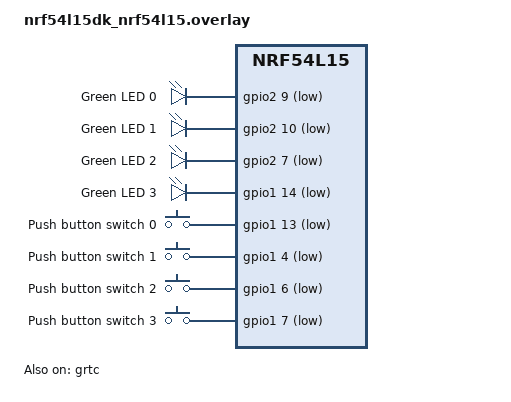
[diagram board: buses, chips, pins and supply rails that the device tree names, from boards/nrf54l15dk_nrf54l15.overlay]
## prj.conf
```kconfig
# Copyright (c) 2019 Nordic Semiconductor ASA
# SPDX-License-Identifier: LicenseRef-Nordic-5-Clause

CONFIG_NCS_SAMPLES_DEFAULTS=y

# ==== 1. KHÓA CHẾ ĐỘ BIÊN DỊCH TỐI ƯU DUNG LƯỢNG & ĐIỆN NĂNG ====
CONFIG_SIZE_OPTIMIZATIONS=y

# ==== 2. QUẢN LÝ NĂNG LƯỢNG CHO DÒNG NRF54L ====
# Bật bộ khung quản lý điện năng nền tảng
CONFIG_PM=y


# Sửa lỗi 'PM_POLICY_DEFAULT': Với Zephyr mới trên nRF54L, thay vì gọi POLICY_DEFAULT,
# ta dùng cờ POLICY_APP hoặc để hệ thống tự điều phối trạng thái nguồn (Power States).
CONFIG_PM_POLICY_DEFAULT=y


# ==== 3. TẮT LOGGING & SERIAL DRIVER (CHỐNG DÒNG RÒ UART) ====
CONFIG_LOG=n
CONFIG_SERIAL=n
CONFIG_UART_CONSOLE=n
CONFIG_STDOUT_CONSOLE=n
CONFIG_USE_SEGGER_RTT=n
CONFIG_RTT_CONSOLE=n

# Sửa lỗi 'PRINTK': Cho phép hệ thống bật PRINTK (y) nhưng không xuất ra phần cứng qua UART
CONFIG_PRINTK=y

# ==== 4. TẤT CẢ CÁC TÍNH NĂNG KIỂM TRA / ASSERT ĐỀU PHẢI TẮT ====
CONFIG_ASSERT=n
CONFIG_RESET_ON_FATAL_ERROR=n

# ==== 5. CẤU HÌNH ĐỊNH TUYẾN LƯU TRỮ ZMS ====
CONFIG_FLASH=y
CONFIG_FLASH_MAP=y
CONFIG_SETTINGS=y
CONFIG_SETTINGS_ZMS=y
CONFIG_NVS=n

# Cấu hình chung ứng dụng
CONFIG_NCS_APPLICATION_BOOT_BANNER_STRING="Mesh Light"
CONFIG_SYSTEM_WORKQUEUE_STACK_SIZE=2048
CONFIG_HWINFO=y
CONFIG_DK_LIBRARY=y
CONFIG_PM_SINGLE_IMAGE=y
CONFIG_SOC_FLASH_NRF_PARTIAL_ERASE=n

# ==== 6. BLUETOOTH & LPN CHU KỲ DÀI KHÔNG THỨC GIẤC ====
CONFIG_BT=y
CONFIG_BT_DEVICE_NAME="Mesh Light"
CONFIG_BT_L2CAP_TX_BUF_COUNT=8
CONFIG_BT_OBSERVER=y
CONFIG_BT_PERIPHERAL=y
CONFIG_BT_SETTINGS=y
CONFIG_BT_RX_STACK_SIZE=2700

# Tắt toàn bộ tính năng Controller phụ trợ để hạ dòng tĩnh
CONFIG_BT_CTLR_LE_ENC=n
CONFIG_BT_PHY_UPDATE=n
CONFIG_BT_CTLR_CHAN_SEL_2=n
CONFIG_BT_CTLR_MIN_USED_CHAN=n
CONFIG_BT_CTLR_PRIVACY=n

# Mesh Low Power Node thiết lập chu kỳ ngủ dài
CONFIG_BT_MESH=y
CONFIG_BT_MESH_LOW_POWER=n
CONFIG_BT_MESH_RELAY=y
CONFIG_BT_MESH_FRIEND=y
CONFIG_BT_MESH_TX_SEG_MAX=10
CONFIG_BT_MESH_PB_GATT=y
CONFIG_BT_MESH_GATT_PROXY=y
CONFIG_BT_MESH_PROXY_USE_DEVICE_NAME=y
CONFIG_BT_MESH_DK_PROV=y
CONFIG_BT_MESH_ONOFF_SRV=y
CONFIG_BT_MESH_CRPL=32
CONFIG_BT_MESH_MSG_CACHE_SIZE=32

# Ép khoảng thời gian Poll Timeout tối đa (Hơn 60 giây mới dậy xin gói tin 1 lần)
CONFIG_BT_MESH_LPN_POLL_TIMEOUT=600
CONFIG_BT_MESH_LPN_RECV_DELAY=10
CONFIG_BT_MESH_LPN_MIN_QUEUE_SIZE=1

# Giảm công suất phát RF xuống mức thấp nhất để tiết kiệm năng lượng lúc phát sóng
CONFIG_BT_CTLR_TX_PWR_DYNAMIC_CONTROL=y
CONFIG_BT_CTLR_TX_PWR_ANTENNA=-8

CONFIG_GPIO=y


CONFIG_TICKLESS_KERNEL=y


# =========================================================
# TỐI ƯU HÓA HỆ ĐIỀU HÀNH VÀ GRTC CHO NRF54L15
# =========================================================

# 2. Tối ưu hóa sâu cho Power Management
# Cho phép hệ thống tự động đưa RAM và các thiết bị ngoại vi vào trạng thái ngắt điện (Retention)

# 3. Tắt System Watchdog (nếu không dùng đến)
# Watchdog đôi khi ngầm sử dụng timer riêng gây tốn thêm khoảng vài uA
CONFIG_WATCHDOG=n

# 4. Ép mức ưu tiên phần cứng cao nhất cho việc quản lý năng lượng LPN
#CONFIG_BT_MESH_LPN_AUTO=y



# =========================================================
# CẤU HÌNH BỔ SUNG: KÍCH HOẠT GRTC VÀ QUẢN LÝ NĂNG LƯỢNG SÂU
# =========================================================

# 1. Định tuyến Driver Clock hệ thống chạy trên phần cứng GRTC thay cho RTC cũ
# 1. Kích hoạt GRTC Driver
# =========================================================
# CẤU HÌNH ĐÃ SỬA ĐỔI: SỬ DỤNG GRTC & BẢO TOÀN LỆNH MESH
# =========================================================

CONFIG_NRFX_GRTC=y

# 2. Để tần số System Tick chạy ở mức 1 MHz (1000000) chuẩn của dòng nRF54L
# Điều này giúp các hàm k_work định thời chớp tắt Identify 30ms chạy chính xác hoàn hảo
CONFIG_SYS_CLOCK_HW_CYCLES_PER_SEC=1000000



CONFIG_BT_MESH_ONOFF_CLI=y





# # =========================================================
# # CẤU HÌNH KIỂM THỬ RELAY (CHUYỂN TIẾP MẠNG MESH)
# # =========================================================



# CONFIG_BT_MESH_LPN_AUTO=n


# # 4. Tăng độ lớn hàng đợi đệm (Buffer) tầng mạng cho Relay
# # Node Relay cần bộ nhớ đệm lớn hơn để xếp hàng và chuyển tiếp các gói tin của các node khác sang cho nhau.
# CONFIG_BT_MESH_ADV_BUF_COUNT=32





# # ==== 3. CẤU HÌNH BẬT LOGGING QUA SEGGER RTT (ĐỂ XEM LOG RELAY) ====
# # Bật hệ thống Log của Zephyr và NCS
# CONFIG_LOG=y
# CONFIG_LOG_MODE_DEFERRED=y

# # Khóa mạch Console UART vật lý (vẫn tắt UART để tránh dòng rò trên chân TX/RX)
# CONFIG_SERIAL=n
# CONFIG_UART_CONSOLE=n

# # Bật Driver SEGGER RTT và chọn RTT làm cổng xuất Log Console
# CONFIG_USE_SEGGER_RTT=y
# CONFIG_RTT_CONSOLE=y

# # Cho phép hàm PRINTK và LOG xuất dữ liệu trực tiếp lên RTT Viewer
# CONFIG_PRINTK=y

# # Tăng kích thước bộ đệm RTT để tránh bị nghẹt/mất chữ khi các gói tin Mesh dồn dập
# CONFIG_SEGGER_RTT_BUFFER_SIZE_UP=2048

# # Ép lõi Bluetooth Mesh in chi tiết log của tầng mạng (Network Layer) và tầng Relay
# CONFIG_BT_MESH_LOG_LEVEL_DBG=y
# CONFIG_BT_MESH_NET_LOG_LEVEL_DBG=y


# ==== BỔ SUNG CẤU HÌNH RAM RETENTION CHO nRF54L15 ====
# Bật tính năng quản lý nguồn cho các block bộ nhớ RAM


# Giả sử ứng dụng của bạn gọn nhẹ, chỉ giữ lại block RAM cần thiết (ví dụ: 96KB)
# và tắt nguồn hoàn toàn các block RAM còn lại để giảm dòng rò tĩnh.
# (Lưu ý: Tùy thuộc vào phiên bản NCS/Zephyr, nRF54L15 sử dụng cấu hình phân mảnh RAM sau)


# ==== TỐI ƯU HÓA POWER MANAGEMENT MANAGEMENT SÂU ====
CONFIG_PM_DEVICE=y
CONFIG_PM_DEVICE_RUNTIME=y
```

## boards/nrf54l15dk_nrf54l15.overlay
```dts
&gpio0 {
    status = "okay";
};

&gpio1 {
    status = "okay";
};

&gpio2 {
    status = "okay";
};

&uart20 {
    status = "disabled";
};

// &i2c21 {
//     compatible = "nordic,nrf-twim";
//     status = "disabled";
//     clock-frequency = <I2C_BITRATE_STANDARD>; /* 100kHz */
//     pinctrl-0 = <&i2c21_default>;
//     pinctrl-1 = <&i2c21_sleep>;
//     pinctrl-names = "default", "sleep";

//     mysensor: mysensor@55{
//         compatible = "i2c-device";
//         reg = <0x55>;
//         label = "MYSENSOR";
//     };
// };

&pinctrl {
    i2c21_default: i2c21_default {
        group1 {
            psels = <NRF_PSEL(TWIM_SCL, 1, 11)>, <NRF_PSEL(TWIM_SDA, 1, 12)>;
            bias-pull-up;
        };
    };

    i2c21_sleep: i2c21_sleep {
        group1 {
            psels = <NRF_PSEL(TWIM_SCL, 1, 11)>, <NRF_PSEL(TWIM_SDA, 1, 12)>;
            low-power-enable;
        };
    };
};

/ {
    leds {
        compatible = "gpio-leds";
        led0: led_0 {
            gpios = <&gpio2 9 GPIO_ACTIVE_LOW>;
            label = "Green LED 0";
        };
        led1: led_1 {
            gpios = <&gpio2 10 GPIO_ACTIVE_LOW>;
            label = "Green LED 1";
        };
        led2: led_2 {
            gpios = <&gpio2 7 GPIO_ACTIVE_LOW>;
            label = "Green LED 2";
        };
        led3: led_3 {
            gpios = <&gpio1 14 GPIO_ACTIVE_LOW>;
            label = "Green LED 3";
        };
    };

    buttons {
        compatible = "gpio-keys";
        button0: button_0 {
            gpios = <&gpio1 13 (GPIO_PULL_UP | GPIO_ACTIVE_LOW)>;
            label = "Push button switch 0";
            zephyr,code = <INPUT_KEY_0>;
        };
        button1: button_1 {
            gpios = <&gpio1 4 (GPIO_PULL_UP | GPIO_ACTIVE_LOW)>;
            label = "Push button switch 1";
            zephyr,code = <INPUT_KEY_1>;
        };
        /* Đã thêm lại button2 và button3 vào đúng vị trí để tránh lỗi cú pháp */
        button2: button_2 {
            gpios = <&gpio1 6 (GPIO_PULL_UP | GPIO_ACTIVE_LOW)>; /* LƯU Ý: Đổi số '6' thành chân GPIO thực tế trên mạch của bạn */
            label = "Push button switch 2";
            zephyr,code = <INPUT_KEY_2>;
        };
        button3: button_3 {
            gpios = <&gpio1 7 (GPIO_PULL_UP | GPIO_ACTIVE_LOW)>; /* LƯU Ý: Đổi số '7' thành chân GPIO thực tế trên mạch của bạn */
            label = "Push button switch 3";
            zephyr,code = <INPUT_KEY_3>;
        };
    };

    aliases {
        led0 = &led0;
        led1 = &led1;
        led2 = &led2;
        led3 = &led3;
        // sw0 = &button0;
        // sw1 = &button1;
        // sw2 = &button2;
        // sw3 = &button3;
        // i2c-0 = &i2c21;
    };
};

&gpiote30 {
    status = "okay";
};

&grtc {
    status = "okay";
};
```

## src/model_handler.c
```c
/*
 * Copyright (c) 2019 Nordic Semiconductor ASA
 *
 * SPDX-License-Identifier: LicenseRef-Nordic-5-Clause
 */

#include <zephyr/bluetooth/bluetooth.h>
#include <zephyr/bluetooth/mesh.h> 
#include <bluetooth/mesh/models.h>
#include <dk_buttons_and_leds.h>
#include "model_handler.h"
#include <zephyr/logging/log.h>
#include <zephyr/net/buf.h> /* THÊM: Thư viện xử lý buffer cho Vendor Model */

LOG_MODULE_REGISTER(model_handler, CONFIG_LOG_DEFAULT_LEVEL);

/* ========================================================================= */
/* --- PHẦN THÊM MỚI: ĐỊNH NGHĨA VÀ XỬ LÝ VENDOR MODEL GỬI SỐ NGUYÊN 32-BIT --- */
#define VND_COMPANY_ID   0x0059   // Mã công ty Nordic
#define VND_MODEL_ID_CLI 0x0001   // ID Model Gửi cho mạch Sensor
#define VND_OP_SENSOR_DATA BT_MESH_MODEL_OP_3(0x01, VND_COMPANY_ID)

BT_MESH_MODEL_PUB_DEFINE(vnd_pub, NULL, 15);
static struct bt_mesh_model *vnd_cli_model;

static const struct bt_mesh_model_op vnd_cli_ops[] = {
	BT_MESH_MODEL_OP_END,
};

/* HÀM MỚI: Dùng để phát số nguyên lớn 32-bit thay vì chỉ bắn On/Off */
static void send_mesh_sensor_data_32bit(uint32_t sensor_value)
{
	if (!vnd_cli_model || vnd_cli_model->pub->addr == BT_MESH_ADDR_UNASSIGNED) {
		LOG_WRN("--- [PHAT SONG]: Chua cau hinh Publish Address cho Vendor Model tren App! ---");
		return;
	}

	struct net_buf_simple *msg = vnd_cli_model->pub->msg;
	net_buf_simple_reset(msg);
	
	bt_mesh_model_msg_init(msg, VND_OP_SENSOR_DATA);
	net_buf_simple_add_le32(msg, sensor_value); // Ép số nguyên 32-bit vào gói tin

	int err = bt_mesh_model_publish(vnd_cli_model);
	if (err) {
		LOG_ERR("Loi gui tin Vendor (err %d)", err);
	} else {
		LOG_INF("--- [PHAT SONG VENDOR]: Da gui du lieu Sensor = %u den Target [0x%04X] ---", 
				sensor_value, vnd_cli_model->pub->addr);
	}
}
/* ========================================================================= */

static void led_set(struct bt_mesh_onoff_srv *srv, struct bt_mesh_msg_ctx *ctx,
		    const struct bt_mesh_onoff_set *set,
		    struct bt_mesh_onoff_status *rsp);

static void led_get(struct bt_mesh_onoff_srv *srv, struct bt_mesh_msg_ctx *ctx,
		    struct bt_mesh_onoff_status *rsp);

static const struct bt_mesh_onoff_srv_handlers onoff_handlers = {
	.set = led_set,
	.get = led_get,
};

struct led_ctx {
	struct bt_mesh_onoff_srv srv;
	struct k_work_delayable work;
	uint32_t remaining;
	bool value;
};

static struct led_ctx led_ctx[] = {
#if DT_NODE_EXISTS(DT_ALIAS(led0))
	{ .srv = BT_MESH_ONOFF_SRV_INIT(&onoff_handlers) },
#endif
#if DT_NODE_EXISTS(DT_ALIAS(led1))
	{ .srv = BT_MESH_ONOFF_SRV_INIT(&onoff_handlers) },
#endif
#if DT_NODE_EXISTS(DT_ALIAS(led2))
	{ .srv = BT_MESH_ONOFF_SRV_INIT(&onoff_handlers) },
#endif
#if DT_NODE_EXISTS(DT_ALIAS(led3))
	{ .srv = BT_MESH_ONOFF_SRV_INIT(&onoff_handlers) },
#endif
};

#define LED_ON   false
#define LED_OFF  true

static void led_transition_start(struct led_ctx *led)
{
	int led_idx = led - &led_ctx[0];
	dk_set_led(led_idx, LED_ON); 
	k_work_reschedule(&led->work, K_MSEC(led->remaining));
	led->remaining = 0;
}

static void led_status(struct led_ctx *led, struct bt_mesh_onoff_status *status)
{
	status->remaining_time = led->remaining ? led->remaining :
		k_ticks_to_ms_ceil32(k_work_delayable_remaining_get(&led->work));
	status->target_on_off = led->value;
	status->present_on_off = led->value || status->remaining_time;
}

/* ====================================================================
 * LOGIC CHU KỲ NGUỒN VÀ TRUYỀN DỮ LIỆU CÓ BỘ ĐỆM AN TOÀN
 * ==================================================================== */
static struct k_work_delayable cycle_work;   // Timer đảo trạng thái Thức/Ngủ
static struct k_work_delayable suspend_work; // Timer delay để tắt Radio an toàn
static struct k_work_delayable blink_work;   // Timer nháy LED 2
static struct k_work_delayable publish_work; // Timer gửi gói tin định kỳ

static bool cycle_mode_active = false;      
static bool is_awake = true;                
static bool led2_blink_state = false;       
static bool next_state_on = true; 

static struct bt_mesh_onoff_cli onoff_cli; 

/* ----- THÊM MỚI: BIẾN VÀ HÀM MÔ PHỎNG SENSOR ----- */
static uint32_t simulated_sensor_value = 0;

static void display_sensor_value(void)
{
	uint8_t mod_val = simulated_sensor_value % 4;

	bool bit0 = (mod_val & 0x01) != 0; // Trạng thái cho LED1 (Index 0)
	bool bit1 = (mod_val & 0x02) != 0; // Trạng thái cho LED2 (Index 1)

	dk_set_led(0, bit0 ? LED_ON : LED_OFF);
	dk_set_led(1, bit1 ? LED_ON : LED_OFF);
}
/* ------------------------------------------------- */

/* HÀM PHỤ TRỢ: Đóng gói và gửi lệnh Mesh tới Group C002 */
static void send_mesh_packet(bool turn_on)
{
	/* Kiểm tra xem Model đã được cấu hình địa chỉ Publish trên nRF Mesh App chưa */
	if (onoff_cli.pub.addr == BT_MESH_ADDR_UNASSIGNED) {
		LOG_WRN("--- [PHAT SONG]: Chua cau hinh Publish Address tren nRF Mesh App! ---");
		return;
	}

	struct bt_mesh_onoff_set set = {
		.on_off = turn_on ? 1 : 0, 
		.transition = NULL,
	};

	/* LẤY ĐỊA CHỈ & APP KEY ĐỘNG: Trích xuất trực tiếp từ cấu hình nRF Mesh */
	struct bt_mesh_msg_ctx ctx = {
		.app_idx = onoff_cli.pub.key,       // Tự động map theo AppKey được gán khi Publish
		.addr = onoff_cli.pub.addr,         // Gửi tới mạch cụ thể/Group cấu hình trên App
		.send_ttl = BT_MESH_TTL_DEFAULT,              
	};

	int err = bt_mesh_onoff_cli_set(&onoff_cli, &ctx, &set, NULL);
	
	if (err && err != -EALREADY) {
		LOG_ERR("Loi gui tin (err %d)", err);
	} else {
		LOG_INF("--- [PHAT SONG]: Da gui lenh %s den Target [0x%04X] ---", 
				turn_on ? "BAT (ON)" : "TAT (OFF)", onoff_cli.pub.addr);
	}
}

/* HÀM XỬ LÝ NHÁY LED 2: Chỉ nháy khi thức */
static void blink_handler(struct k_work *work)
{
	if (!cycle_mode_active || !is_awake) {
		return; // Không nháy nếu đang đi ngủ
	}

	led2_blink_state = !led2_blink_state;
	dk_set_led(2, led2_blink_state ? LED_ON : LED_OFF);
	
	k_work_reschedule(&blink_work, K_MSEC(100));
}

/* HÀM BẮN GÓI TIN: THAY ĐỔI ĐỂ PHÁT SỐ NGUYÊN LỚN THAY VÌ ON/OFF CHU KỲ */
static void publish_handler(struct k_work *work)
{
	if (!cycle_mode_active || !is_awake) {
		return;
	}

	/* THAY ĐỔI: Thay vì gọi lệnh On/Off cũ, ta gọi hàm phát số nguyên lớn thực tế */
	// send_mesh_packet(next_state_on); // Logic cũ (comment lại)
	// next_state_on = !next_state_on;   // Logic cũ (comment lại)

	/* Gửi giá trị số nguyên lớn mô phỏng hiện tại của sensor lên Hub */
	send_mesh_sensor_data_32bit(simulated_sensor_value);

	k_work_reschedule(&publish_work, K_MSEC(1000));
}

/* HÀM MỚI: Thực hiện tắt Radio (Ngủ Sâu) sau khi gói tin đã bay đi an toàn */
static void suspend_handler(struct k_work *work)
{
	// Bảo vệ 2 lớp: Nếu chu kỳ bị ngắt giữa chừng hoặc mạch đang thức thì không tắt Radio
	if (is_awake || !cycle_mode_active) {
		return;
	}

	k_work_cancel_delayable(&blink_work);  

	/* ÉP TẮT TOÀN BỘ LED TRÊN MẠCH KHI ĐI NGỦ */
	for (int i = 0; i < ARRAY_SIZE(led_ctx); i++) {
		dk_set_led(i, LED_OFF);
	}

	// ĐÓNG BĂNG MẠNG: Ngắt hoàn toàn chip RF để hạ dòng xuống mức uA
	bt_mesh_suspend(); 
	LOG_INF("--- [RADIO]: Da dong bang Radio, TAT HET LED, ngat mach di ngu! ---");
}
/* HÀM QUẢN LÝ CHU KỲ NGUỒN: Chỉ điều phối, nhường việc ngủ cho suspend_work */
static void cycle_handler(struct k_work *work)
{
	if (!cycle_mode_active) {
		return;
	}

	is_awake = !is_awake;

	if (is_awake) {
		/* --- 🟢 MẠCH THỨC GIẤC (10s) --- */
		bt_mesh_resume(); // Đánh thức Radio ngay lập tức
		LOG_INF("--- [RADIO]: Da khoi dong lai Radio! ---");

		for (int i = 0; i < ARRAY_SIZE(led_ctx); i++) {
			if (i != 1 && i != 2 && i != 3) { 
				dk_set_led(i, led_ctx[i].value ? LED_ON : LED_OFF);
			}
		}
		
		led2_blink_state = true;
		dk_set_led(2, LED_ON);
		k_work_reschedule(&blink_work, K_MSEC(100)); // LED nháy ngay lập tức

		next_state_on = true; 
		
		// ĐỢI 500MS SAU KHI THỨC: Cho chip RF nạp đủ năng lượng và kết nối mạng rồi mới bắn tin
		k_work_reschedule(&publish_work, K_MSEC(500)); 

		// Hẹn giờ đi ngủ sau 10s
		k_work_reschedule(&cycle_work, K_MSEC(10000));

		/* --- CHỈ TĂNG VÀ HIỂN THỊ SENSOR MỖI KHI BẮT ĐẦU CHU KỲ THỨC MỚI --- */
		simulated_sensor_value += 1; /* THAY ĐỔI: Cộng bước lớn (ví dụ +1235) để tạo ra số nguyên lớn thực sự */
		LOG_INF("--- [SENSOR]: Gia tri sensor hien tai = %d ---", simulated_sensor_value);
		display_sensor_value();

	} else {
		/* --- 🔴 MẠCH SẮP ĐI NGỦ (10s) --- */
		
		k_work_cancel_delayable(&publish_work); // Ngừng gửi tin chu kỳ 1s

		// ÂN HẠN 1 GIÂY (1000ms): Chờ gói tin bay đi trót lọt rồi mới ủy quyền cho suspend_handler rút điện Radio!
		k_work_reschedule(&suspend_work, K_NO_WAIT);

		// Hẹn giờ thức giấc sau 10s
		k_work_reschedule(&cycle_work, K_MSEC(10000));
	}
}

static void led_set(struct bt_mesh_onoff_srv *srv, struct bt_mesh_msg_ctx *ctx,
		    const struct bt_mesh_onoff_set *set,
		    struct bt_mesh_onoff_status *rsp)
{
	struct led_ctx *led = CONTAINER_OF(srv, struct led_ctx, srv);
	int led_idx = led - &led_ctx[0];

	/* ----- ĐÓN VÀ XỬ LÝ GÓI TIN MẠCH B (LED 1) ----- */
	if (led_idx == 1) { 
		led->value = set->on_off;
		
		if (set->on_off == 1) {
			dk_set_led(1, LED_ON);
		} else {
			dk_set_led(1, LED_OFF);
		}
	} 
	/* ----- KÍCH HOẠT CHU KỲ NĂNG LƯỢNG QUA LED 2 ----- */
	else if (led_idx == 2) { 
		led->value = set->on_off;

		if (set->on_off == 1) {
			if (!cycle_mode_active) {
				cycle_mode_active = true;
				is_awake = true;
				
				k_work_reschedule(&blink_work, K_NO_WAIT);    
				k_work_reschedule(&cycle_work, K_MSEC(10000));
				
				next_state_on = true;
				k_work_reschedule(&publish_work, K_MSEC(500));

				/* --- TĂNG VÀ HIỂN THỊ SENSOR TẠI LẦN THỨC ĐẦU TIÊN CỦA CHU KỲ --- */
				//simulated_sensor_value += 1;
				LOG_INF("--- [SENSOR]: Bat dau chu ky, gia tri sensor = %d ---", simulated_sensor_value);
				display_sensor_value();
			}
		} else {
			cycle_mode_active = false;
			is_awake = true; 
			
			// Hủy toàn bộ mọi lịch trình đang chờ
			k_work_cancel_delayable(&cycle_work);
			k_work_cancel_delayable(&blink_work);
			k_work_cancel_delayable(&publish_work);
			k_work_cancel_delayable(&suspend_work); // Bổ sung hủy bộ đệm đi ngủ
			
			bt_mesh_resume(); // Ép hệ thống luôn thức
			dk_set_led(2, LED_ON);

			for (int i = 0; i < ARRAY_SIZE(led_ctx); i++) {
				if (i != 1 && i != 2 && i != 3) {
					dk_set_led(i, led_ctx[i].value ? LED_ON : LED_OFF);
				}
			}
		}
	} 
	else {
		led->value = set->on_off; 
		if (!bt_mesh_model_transition_time(set->transition)) {
			led->remaining = 0;
			if (is_awake && led_idx != 3) {
				dk_set_led(led_idx, set->on_off ? LED_ON : LED_OFF);
			}
		} else {
			led->remaining = set->transition->time;
			if (set->transition->delay) {
				k_work_reschedule(&led->work, K_MSEC(set->transition->delay));
			} else {
				if (is_awake && led_idx != 3) {
					led_transition_start(led);
				}
			}
		}
	}

	if (rsp) {
		led_status(led, rsp);
	}
}

static void led_get(struct bt_mesh_onoff_srv *srv, struct bt_mesh_msg_ctx *ctx,
		    struct bt_mesh_onoff_status *rsp)
{
	struct led_ctx *led = CONTAINER_OF(srv, struct led_ctx, srv);
	led_status(led, rsp);
}

static void led_work(struct k_work *work)
{
	struct led_ctx *led = CONTAINER_OF(work, struct led_ctx, work.work);
	int led_idx = led - &led_ctx[0];

	if (led->remaining) {
		led_transition_start(led);
	} else {
		if (is_awake && led_idx != 1 && led_idx != 2 && led_idx != 3) {
			dk_set_led(led_idx, led->value ? LED_ON : LED_OFF);
		}
		struct bt_mesh_onoff_status status;
		led_status(led, &status);
		bt_mesh_onoff_srv_pub(&led->srv, NULL, &status);
	}
}

static struct k_work_delayable attention_blink_work;
static bool attention;

static void attention_blink(struct k_work *work)
{
	static int idx;
	const uint8_t pattern[] = {
#if DT_NODE_EXISTS(DT_ALIAS(led0))
		BIT(0),
#endif
#if DT_NODE_EXISTS(DT_ALIAS(led1))
		BIT(1),
#endif
#if DT_NODE_EXISTS(DT_ALIAS(led2))
		BIT(2),
#endif
#if DT_NODE_EXISTS(DT_ALIAS(led3))
		BIT(3),
#endif
	};

	if (attention) {
		dk_set_leds(pattern[idx++ % ARRAY_SIZE(pattern)]);
		k_work_reschedule(&attention_blink_work, K_MSEC(30));
	} else {
		for (int i = 0; i < ARRAY_SIZE(led_ctx); i++) {
			dk_set_led(i, LED_OFF);
		}
	}
}

static void attention_on(const struct bt_mesh_model *mod)
{
	attention = true;
	k_work_reschedule(&attention_blink_work, K_NO_WAIT);
}

static void attention_off(const struct bt_mesh_model *mod)
{
	attention = false;
}

static const struct bt_mesh_health_srv_cb health_srv_cb = {
	.attn_on = attention_on,
	.attn_off = attention_off,
};

static struct bt_mesh_health_srv health_srv = {
	.cb = &health_srv_cb,
};

BT_MESH_HEALTH_PUB_DEFINE(health_pub, 0);

static struct bt_mesh_elem elements[] = {
#if DT_NODE_EXISTS(DT_ALIAS(led0))
	BT_MESH_ELEM(
		1, BT_MESH_MODEL_LIST(
			BT_MESH_MODEL_CFG_SRV,
			BT_MESH_MODEL_HEALTH_SRV(&health_srv, &health_pub),
			BT_MESH_MODEL_ONOFF_SRV(&led_ctx[0].srv),
			BT_MESH_MODEL_ONOFF_CLI(&onoff_cli)),
		/* CHÊM VÀO ĐUÔI ELEMENT 1: Khai báo Vendor Client Model để hệ thống biên dịch */
		BT_MESH_MODEL_LIST(
			BT_MESH_MODEL_VND(VND_COMPANY_ID, VND_MODEL_ID_CLI, vnd_cli_ops, &vnd_pub, NULL)
		)),
#endif
#if DT_NODE_EXISTS(DT_ALIAS(led1))
	BT_MESH_ELEM(
		2, BT_MESH_MODEL_LIST(BT_MESH_MODEL_ONOFF_SRV(&led_ctx[1].srv)),
		BT_MESH_MODEL_NONE),
#endif
#if DT_NODE_EXISTS(DT_ALIAS(led2))
	BT_MESH_ELEM(
		3, BT_MESH_MODEL_LIST(BT_MESH_MODEL_ONOFF_SRV(&led_ctx[2].srv)),
		BT_MESH_MODEL_NONE),
#endif
#if DT_NODE_EXISTS(DT_ALIAS(led3))
	BT_MESH_ELEM(
		4, BT_MESH_MODEL_LIST(BT_MESH_MODEL_ONOFF_SRV(&led_ctx[3].srv)),
		BT_MESH_MODEL_NONE),
#endif
};

static const struct bt_mesh_comp comp = {
	.cid = CONFIG_BT_COMPANY_ID,
	.elem = elements,
	.elem_count = ARRAY_SIZE(elements),
};

const struct bt_mesh_comp *model_handler_init(void)
{
	k_work_init_delayable(&attention_blink_work, attention_blink);

	for (int i = 0; i < ARRAY_SIZE(led_ctx); ++i) {
		k_work_init_delayable(&led_ctx[i].work, led_work);
		led_ctx[i].value = 0; 
	}

	// Đăng ký toàn bộ hàng đợi
	k_work_init_delayable(&blink_work, blink_handler);
	k_work_init_delayable(&cycle_work, cycle_handler);
	k_work_init_delayable(&publish_work, publish_handler); 
	k_work_init_delayable(&suspend_work, suspend_handler); // BỘ ĐỆM ĐI NGỦ

	/* THÊM: Trỏ con trỏ lưu địa chỉ Vendor Model Client khi khởi động */
	vnd_cli_model = &elements[0].vnd_models[0];

	cycle_mode_active = false;
	is_awake = true;
	
	for (int i = 0; i < ARRAY_SIZE(led_ctx); i++) {
		dk_set_led(i, LED_OFF); 
	}
	dk_set_led(2, LED_ON);

	return &comp;
}
```
